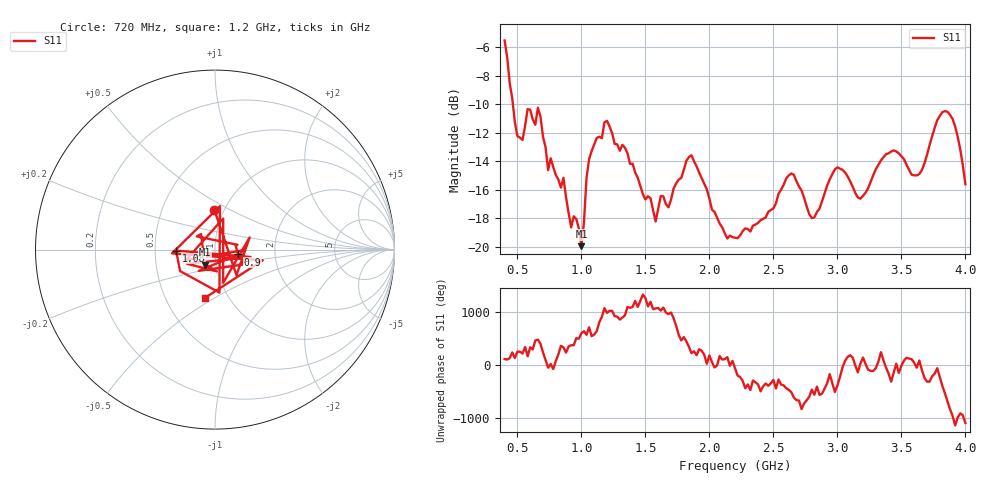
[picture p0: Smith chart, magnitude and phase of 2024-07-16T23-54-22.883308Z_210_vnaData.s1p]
!Created with skrf (http://scikit-rf.org).
# Hz S RI R 50.0
!freq ReS11 ImS11
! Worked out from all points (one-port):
!   181 points, 400 MHz to 4 GHz, reference 50 ohm
!   lowest |S11| = -19.9 dB at 1 GHz (marker M1), VSWR 1.22, Z = 44.1 - j7.44 ohm
!   |S11| at or under -10 dB: 464.7 MHz to end of sweep
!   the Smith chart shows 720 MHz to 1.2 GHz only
!   S11 on the Smith chart (normalised r, x): 720 MHz: 0.90, +0.42; 900 MHz: 1.29, -0.07; 1.08 GHz: 0.64, -0.01; 1.2 GHz: 0.78, -0.45
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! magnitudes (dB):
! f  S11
! 400 MHz  -5.5
! 500 MHz  -12.2
! 660 MHz  -10.3
! 720 MHz  -13.0
! 740 MHz  -14.6
! 860 MHz  -15.2
! 900 MHz  -17.6
! 1 GHz  -19.9
! 1.04 GHz  -15.2
! 1.08 GHz  -13.3
! 1.2 GHz  -11.2
! 1.3 GHz  -13.3
! 1.58 GHz  -18.2
! 1.62 GHz  -16.4
! 1.76 GHz  -15.3
! 1.86 GHz  -13.6
! 2.2 GHz  -19.3
! 2.66 GHz  -15.0
! 2.8 GHz  -18.0
! 2.98 GHz  -14.6
! 3.1 GHz  -15.4
! 3.18 GHz  -16.6
! 3.44 GHz  -13.2
! 3.56 GHz  -14.6
! 3.64 GHz  -14.9
! 3.86 GHz  -10.5
! 3.94 GHz  -12.3
! 4 GHz  -15.6
